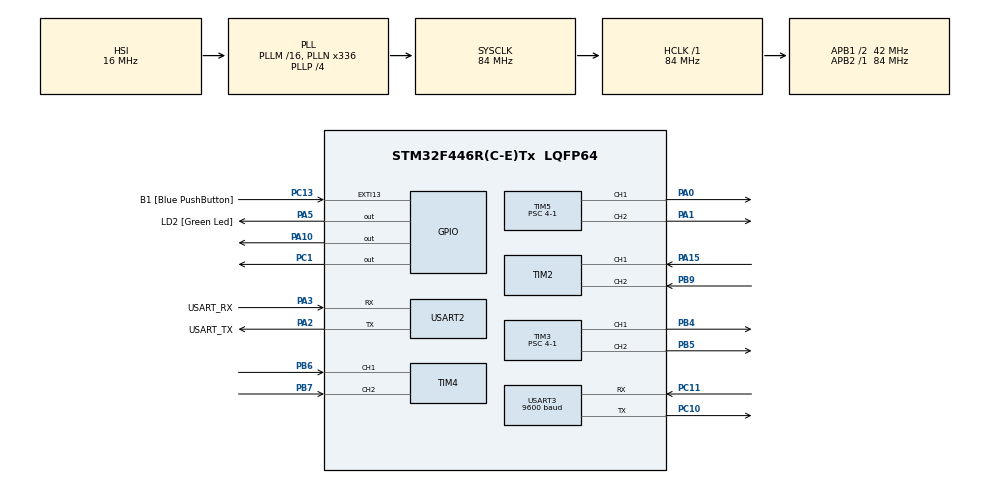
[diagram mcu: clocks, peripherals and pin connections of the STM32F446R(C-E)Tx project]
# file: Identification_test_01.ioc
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Mcu.Family=STM32F4
Mcu.Name=STM32F446R(C-E)Tx
Mcu.Package=LQFP64
NVIC.PriorityGroup=NVIC_PRIORITYGROUP_0
NVIC.TIM2_IRQn=true\:0\:0\:false\:false\:true\:true\:true\:true
NVIC.TIM3_IRQn=true\:0\:0\:false\:false\:true\:true\:true\:true
NVIC.TIM4_IRQn=true\:0\:0\:false\:false\:true\:true\:true\:true
NVIC.TIM5_IRQn=true\:0\:0\:false\:false\:true\:true\:true\:true
NVIC.TIM8_TRG_COM_TIM14_IRQn=true\:0\:0\:false\:false\:true\:true\:true\:true
NVIC.USART3_IRQn=true\:0\:0\:false\:false\:true\:true\:true\:true
PA0-WKUP.Signal=S_TIM5_CH1
PA1.Signal=S_TIM5_CH2
PA10.Signal=GPIO_Output
PA13.GPIO_Label=TMS
PA13.Mode=Serial_Wire
PA13.Signal=SYS_JTMS-SWDIO
PA14.GPIO_Label=TCK
PA14.Mode=Serial_Wire
PA14.Signal=SYS_JTCK-SWCLK
PA15.Signal=S_TIM2_CH1_ETR
PA2.GPIO_Label=USART_TX
PA2.Mode=Asynchronous
PA2.Signal=USART2_TX
PA3.GPIO_Label=USART_RX
PA3.Mode=Asynchronous
PA3.Signal=USART2_RX
PA5.GPIO_Label=LD2 [Green Led]
PA5.Signal=GPIO_Output
PB3.GPIO_Label=SWO
PB3.Signal=SYS_JTDO-SWO
PB4.Signal=S_TIM3_CH1
PB5.Signal=S_TIM3_CH2
PB6.Signal=S_TIM4_CH1
PB7.Signal=S_TIM4_CH2
PB9.Signal=S_TIM2_CH2
PC1.Signal=GPIO_Output
PC10.Mode=Asynchronous
PC10.Signal=USART3_TX
PC11.Mode=Asynchronous
PC11.Signal=USART3_RX
PC13.GPIO_Label=B1 [Blue PushButton]
PC13.GPIO_ModeDefaultEXTI=GPIO_MODE_IT_FALLING
PC13.Signal=GPXTI13
PC14-OSC32_IN.Mode=LSE-External-Oscillator
PC14-OSC32_IN.Signal=RCC_OSC32_IN
PC15-OSC32_OUT.Mode=LSE-External-Oscillator
PC15-OSC32_OUT.Signal=RCC_OSC32_OUT
PH0-OSC_IN.Mode=HSE-External-Oscillator
PH0-OSC_IN.Signal=RCC_OSC_IN
PH1-OSC_OUT.Mode=HSE-External-Oscillator
PH1-OSC_OUT.Signal=RCC_OSC_OUT
ProjectManager.HeapSize=0x200
ProjectManager.StackSize=0x400
ProjectManager.TargetToolchain=STM32CubeIDE
RCC.48MHZClocksFreq_Value=84000000
RCC.AHBFreq_Value=84000000
RCC.APB1CLKDivider=RCC_HCLK_DIV2
RCC.APB1Freq_Value=42000000
RCC.APB1TimFreq_Value=84000000
RCC.APB2Freq_Value=84000000
RCC.APB2TimFreq_Value=84000000
RCC.CortexFreq_Value=84000000
RCC.FLatency-AdvancedSettings=FLASH_LATENCY_2
RCC.HCLKFreq_Value=84000000
RCC.HSE_VALUE=8000000
RCC.HSI_VALUE=16000000
RCC.PLLN=336
RCC.PLLP=RCC_PLLP_DIV4
RCC.SYSCLKFreq_VALUE=84000000
RCC.SYSCLKSource=RCC_SYSCLKSOURCE_PLLCLK
RCC.USBFreq_Value=168000000
RCC.VCOOutputFreq_Value=336000000
SH.S_TIM2_CH1_ETR.0=TIM2_CH1,Encoder_Interface
SH.S_TIM2_CH2.0=TIM2_CH2,Encoder_Interface
SH.S_TIM3_CH1.0=TIM3_CH1,PWM Generation1 CH1
SH.S_TIM3_CH2.0=TIM3_CH2,PWM Generation2 CH2
SH.S_TIM4_CH1.0=TIM4_CH1,Encoder_Interface
SH.S_TIM4_CH2.0=TIM4_CH2,Encoder_Interface
SH.S_TIM5_CH1.0=TIM5_CH1,PWM Generation1 CH1
SH.S_TIM5_CH2.0=TIM5_CH2,PWM Generation2 CH2
TIM14.Period=100-1
TIM14.Prescaler=840-1
TIM2.EncoderMode=TIM_ENCODERMODE_TI12
TIM3.Channel-PWM\ Generation1\ CH1=TIM_CHANNEL_1
TIM3.Channel-PWM\ Generation2\ CH2=TIM_CHANNEL_2
TIM3.Period=1000-1
TIM3.Prescaler=4-1
TIM4.EncoderMode=TIM_ENCODERMODE_TI12
TIM5.Channel-PWM\ Generation1\ CH1=TIM_CHANNEL_1
TIM5.Channel-PWM\ Generation2\ CH2=TIM_CHANNEL_2
TIM5.Period=1000-1
TIM5.Prescaler=4-1
USART2.VirtualMode=VM_ASYNC
USART3.BaudRate=9600
USART3.VirtualMode=VM_ASYNC
VP_TIM14_VS_ClockSourceINT.Mode=Enable_Timer
VP_TIM3_VS_ClockSourceINT.Mode=Internal
VP_TIM5_VS_ClockSourceINT.Mode=Internal
board=NUCLEO-F446RE

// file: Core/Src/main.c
/* USER CODE BEGIN Header */
/**
 ******************************************************************************
 * @file           : main.c
 * @brief          : Main program body
 ******************************************************************************
 * @attention
 *
 * Copyright (c) 2025 STMicroelectronics.
 * All rights reserved.
 *
 * This software is licensed under terms that can be found in the LICENSE file
 * in the root directory of this software component.
 * If no LICENSE file comes with this software, it is provided AS-IS.
 *
 ******************************************************************************
 */
/* USER CODE END Header */
#include "main.h"

/* USER CODE BEGIN Includes */
#include "math.h"
#include "string.h"
#include "stdio.h"
#include "robot_kinematics.h"
#include "ekf_dd.h"

/* USER CODE END Includes */

TIM_HandleTypeDef htim2;
TIM_HandleTypeDef htim3;
TIM_HandleTypeDef htim4;
TIM_HandleTypeDef htim5;
TIM_HandleTypeDef htim14;

UART_HandleTypeDef huart2;
UART_HandleTypeDef huart3;

/* USER CODE BEGIN PV */
#define ESPERA 15000

int Sampling = 0;
int16_t Acount = 0;
float Aangle = 0;
int16_t Bcount = 0;
float Bangle = 0;
float Apast_angle = 0;
float Aspeed = 0;
float Bpast_angle = 0;
float Bspeed = 0;
float Duty = 0;
float dt = 0;
float y_k = 0;
float By_k = 0;
float r = 0;
float Br = 0;
//float e_k = 0, e_k_1 = 0, e_k_2 = 0;
//float u_k = 0, u_k_1 = 0, u_k_2 = 0;
float u_k = 0, Bu_k = 0;
float coorx[4]= {2.0f,    2.0f,    0.0f,   0.0f};
float coory[4] = {0.0f,    2.0f,    2.0f,   0.0f};
float Xd = 0.0f;
float Yd = 0.0f;

//	EVASIÓN DE OBSTACULOS(4*6)

//float alphas[8][9] = {{0, 0, 0, 1.400864734998522, -0.816273551248890, 0.168912137812222, -0.012122886484352, 0.0, 0.0},
//		{4, 0, 0, -0.0578170886460264, 0.0433628164845197, -0.01084070412113, 0.0009033920100942, 0.0 , 0.0},
//		{4, 0, 0, -1.400864734998522, 0.816273551248890, -0.168912137812222, 0.012122886484352, 0.0, 0.0},
//		{0, 0, 0, 0.0578170886460264, -0.0433628164845197, 0.01084070412113, -0.0009033920100942, 0.0, 0.0},
//		{4, 0, 0, 0.333581735217150, -0.248149041130290, 0.055389808226058, -0.003948653881737, 0.0, 0.0},
//		{2, 0, 0, -0.098164604945153,  0.010898762967092, 0.003580247406582, -0.000494683160439, 0.0, 0.0},
//		{0, 0, 0,  -0.001789077758982,  0.001073446655389, -0.000214689331078, 0.000014312622072, 0.0, 0.0},
//		{0, 0, 0, 0.091066348578766, -0.054639809147260, 0.010927961829452, -0.000728530788630, 0.0, 0.0}};
//
//float betas[8][9] = {{0, 0, 0, 0.059645443779439, -0.044734082834579,  0.011183520708645, -0.000931960059054, 0.0, 0.0},
//		{0, 0, 0,0.057152225192306, 0.30869833110577, -0.129908957776442, 0.01375543398137, 0.0 , 0.0},
//		{6, 0, 0, -0.059645443779439, 0.044734082834579,  -0.011183520708645, 0.000931960059054,0.0, 0.0},
//		{6, 0, 0, -0.057152225192306, -0.30869833110577, 0.129908957776442, -0.01375543398137, 0.0, 0.0},
//		{6, 0, 0, -0.010782280545491, 0.006469368327295, -0.001293873665459, 0.000086258244364, 0.0, 0.0},
//		{6, 0, 0, -0.002813650178160, 0.001688190106896, -0.000337638021379, 0.000022509201425, 0.0, 0.0},
//		{6, 0, 0, -0.137896451670704,  0.010737871002422, 0.006492425799516, -0.000816828386634, 0.0, 0.0},
//		{3, 0, 0, 0.296007012321636,  -0.249604207392982, 0.058560841478597, -0.004288056098573, 0.0, 0.0}};

// TRAYECTORIA CUADRADA
float alphas[4][9] = {{0, 0, 0, 0.32, -0.096, 0.00768, 0.0, 0.0 , 0.0},
		{4, 0, 0, 0.0, 0.0, 0.0, 0, 0.0 , 0.0},
		{4, 0, 0, -0.32, 0.096, -0.00768, 0.0 , 0.0},
		{0, 0, 0, 0.0, 0.0, 0.0, 0, 0.0 , 0.0}};
float betas[4][9] = {{0, 0, 0, 0.0f, 0.0f, 0.0f, 0, 0.0 , 0.0},
		{0, 0, 0, 0.32, -0.096, 0.00768, 0.0, 0.0 , 0.0},
		{4, 0, 0, 0.0, 0.0, 0.0, 0, 0.0 , 0.0},
		{4, 0, 0, -0.32, 0.096, -0.00768, 0.0, 0.0 , 0.0}};

float AR[4][4] = {
    {0.5116f,    0.0070f,    0.0000f,   -0.0002f},
    {-5.6090f,    0.8795f,    0.0006f,   -0.0356f},
    {0.9522f,   -0.2830f,    0.9999f,    0.0064f},
    {0.0f,		 0.0f,		 0.0f, 		0.3679f}
};

float AL[4][4] = {
    {0.2982f,    0.0054f,    0.0000f,   -0.0003f},
    {-12.3759f,    0.7801f,    0.0009f,   -0.0576f},
    {2.2989f,   -0.2692f,    0.9999f,    0.0106f},
    {0.0f,		 0.0f,		 0.0f, 		0.3679f}
};

float BR[4][2] = {
    {0.0002f,    0.4884f},
    {0.0399f,    5.6090f},
    {0.2939f,   -0.9522f},
    {0.0f,		 0.0f}
};
float BL[4][2] = {
    {0.0002f,    0.7018f},
    {0.0652f,   12.3759f},
    {0.2898f,   -2.2989},
    {0.0f,		 0.0f}
};

float c11 = 0, c12 = -70, c13 = 1, c14 = -100;
float d11 = 70, d12 = 0;
float x1_k_1 = 0, x2_k_1 = 0, x3_k_1 = 0, x4_k_1 = 0;
float x1_k = 0, x2_k = 0, x3_k = 0, x4_k = 0;

float Bx1_k_1 = 0, Bx2_k_1 = 0, Bx3_k_1 = 0, Bx4_k_1 = 0;
float Bx1_k = 0, Bx2_k = 0, Bx3_k = 0, Bx4_k = 0;

volatile int32_t Acount_total = 0;
volatile int32_t Bcount_total = 0;

float phi_d = 0.0f;

float T_esp = 0;
float t = 0;
int count = 1;
int coor = 0;
int band = 1;
int band_giro = 0;

volatile uint8_t uart3_busy = 0;     // 0 = libre, 1 = transmitiendo
char telem_buf[128];                 // buffer de salida
uint16_t telem_div = 20;             // envía cada 20 ciclos (~50 Hz si control=1 kHz)
uint16_t telem_cnt = 0;              // contador de ciclos de controlstatic EKF_DD kf;
static const float DT = 0.01f;   // 100 Hz

RobotKinematics cacarro;
/* USER CODE END PV */

void SystemClock_Config(void);
static void MX_GPIO_Init(void);
static void MX_USART2_UART_Init(void);
static void MX_TIM14_Init(void);
static void MX_TIM2_Init(void);
static void MX_TIM3_Init(void);
static void MX_TIM4_Init(void);
static void MX_TIM5_Init(void);
static void MX_USART3_UART_Init(void);
/* USER CODE BEGIN PFP */
static void control(float u, TIM_HandleTypeDef *htim);
static void Forward(float Duty, TIM_HandleTypeDef *htim);
static void Backward(float Duty, TIM_HandleTypeDef *htim);

/* USER CODE END PFP */

int main(void)
{

  /* USER CODE BEGIN 1 */

	char uart_buf[50];
	int uart_buf_len;

  /* USER CODE END 1 */

  /* MCU Configuration--------------------------------------------------------*/

  /* Reset of all peripherals, Initializes the Flash interface and the Systick. */

	HAL_Init();

  /* Configure the system clock */
  SystemClock_Config();

  /* Initialize all configured peripherals */
  MX_GPIO_Init();
  MX_USART2_UART_Init();
  MX_TIM14_Init();
  MX_TIM2_Init();
  MX_TIM3_Init();
  MX_TIM4_Init();
  MX_TIM5_Init();
  MX_USART3_UART_Init();
  /* USER CODE BEGIN 2 */
	HAL_TIM_Base_Start_IT(&htim14); // Start the sampling timer
	HAL_TIM_Encoder_Start_IT(&htim2, TIM_CHANNEL_ALL); // Start the encoder timer
	HAL_TIM_Encoder_Start_IT(&htim4, TIM_CHANNEL_ALL); // Start the encoder timer
	HAL_GPIO_WritePin(GPIOA, GPIO_PIN_10,SET);
	HAL_GPIO_WritePin(GPIOC, GPIO_PIN_1, SET);
	HAL_TIM_PWM_Start(&htim3, TIM_CHANNEL_1);
	HAL_TIM_PWM_Start(&htim3, TIM_CHANNEL_2);
	HAL_TIM_PWM_Start(&htim5, TIM_CHANNEL_1);
	HAL_TIM_PWM_Start(&htim5, TIM_CHANNEL_2);

	RobotKinematics_Init(&cacarro, 0.05,0.315);

//	HAL_Delay(2000);
  /* USER CODE END 2 */

  /* Infinite loop */
  /* USER CODE BEGIN WHILE */
	t = 0;
	while (1)
	{

		while(Sampling)
		{
			Sampling = 0;

//			if(t<=20){
//				Xd = alphas[0][0] + alphas[0][1]*t + alphas[0][2]*powf(t,2) + alphas[0][3]*powf(t,3) + alphas[0][4]*powf(t,4) + alphas[0][5]*powf(t,5);
//				Yd = betas[0][0] + betas[0][1]*t + betas[0][2]*powf(t,2) + betas[0][3]*powf(t,3) + betas[0][4]*powf(t,4) + betas[0][5]*powf(t,5);
//				band = 1;
//			}
			// GIRO Y CUADRADO
			if(band_giro){
				if(t<=2){
					Xd = 1 * (1 - cos((2*3.1416/8) * t));
					Yd = 1 * sin((2*3.1416/8) * t);
					Xd = alphas[(coor+1)%4][0] + cos(t);
					Yd = betas[(coor+1)%4][0] + sin(t);
				}
			}
			else{
				if(t<=5){
					Xd = alphas[coor][0] + alphas[coor][1]*t + alphas[coor][2]*powf(t,2) + alphas[coor][3]*powf(t,3) + alphas[coor][4]*powf(t,4) + alphas[coor][5]*powf(t,5) + alphas[coor][6]*powf(t,6) + alphas[coor][7]*powf(t,7) + alphas[coor][8]*powf(t,8);
					Yd = betas[coor][0] + betas[coor][1]*t + betas[coor][2]*powf(t,2) + betas[coor][3]*powf(t,3) + betas[coor][4]*powf(t,4) + betas[coor][5]*powf(t,5) + betas[coor][6]*powf(t,6) + betas[coor][7]*powf(t,7) + betas[coor][8]*powf(t,8);
					band = 1;

				}
			}

//			if(t<=8){
//				Xd = alphas[coor][0] + alphas[coor][1]*t + alphas[coor][2]*powf(t,2) + alphas[coor][3]*powf(t,3) + alphas[coor][4]*powf(t,4) + alphas[coor][5]*powf(t,5) + alphas[coor][6]*powf(t,6) + alphas[coor][7]*powf(t,7);
//				Yd = betas[coor][0] + betas[coor][1]*t + betas[coor][2]*powf(t,2) + betas[coor][3]*powf(t,3) + betas[coor][4]*powf(t,4) + betas[coor][5]*powf(t,5) + betas[coor][6]*powf(t,6) + betas[coor][7]*powf(t,7);
//				band = 1;
//			}
//			else{
//				if(band){
//					alphas[count][0] = cacarro.x;
//					bethas[count][0] = cacarro.y;
//					count += 1;
//					band = 0;
//				}
//			}

			//IZQUIERDO
			Aspeed = (Aangle - Apast_angle)/0.001;
			Apast_angle = Aangle;
			y_k = Aangle;

			//DERECHO
			Bspeed = (Bangle - Bpast_angle)/0.001;
			Bpast_angle = Bangle;
			By_k = Bangle;

			RobotKinematics_Update(&cacarro, Aangle, Bangle, 0.001);

			phi_d = W_Control_Law(&cacarro, Xd, Yd);
			VL_Control_Law(&cacarro, Xd, Yd);
			Angular_Vel(&cacarro);

			r = cacarro.W_L_d;
			Br = cacarro.W_R_d;

			//MOTOR A : IZQUIERDO
			x1_k_1 = AR[0][0]*x1_k + AR[0][1]*x2_k + AR[0][2]*x3_k + AR[0][3]*x4_k + BR[0][0]*r + BR[0][1]*y_k;
			x2_k_1 = AR[1][0]*x1_k + AR[1][1]*x2_k + AR[1][2]*x3_k + AR[1][3]*x4_k + BR[1][0]*r + BR[1][1]*y_k;
			x3_k_1 = AR[2][0]*x1_k + AR[2][1]*x2_k + AR[2][2]*x3_k + AR[2][3]*x4_k + BR[2][0]*r + BR[2][1]*y_k;
			x4_k_1 = AR[3][0]*x1_k + AR[3][1]*x2_k + AR[3][2]*x3_k + AR[3][3]*x4_k + BR[3][0]*r + BR[3][1]*y_k;

			u_k = c11*x1_k + c12*x2_k +c13*x3_k + c14*x4_k + d11*r;
			control(u_k, &htim3);
			x1_k = x1_k_1;
			x2_k = x2_k_1;
			x3_k = x3_k_1;
			x4_k = x4_k_1;

			//MOTOR B : DERECHO

			Bx1_k_1 = AL[0][0]*Bx1_k + AL[0][1]*Bx2_k + AL[0][2]*Bx3_k + AL[0][3]*Bx4_k + BL[0][0]*Br + BL[0][1]*By_k;
			Bx2_k_1 = AL[1][0]*Bx1_k + AL[1][1]*Bx2_k + AL[1][2]*Bx3_k + AL[1][3]*Bx4_k + BL[1][0]*Br + BL[1][1]*By_k;
			Bx3_k_1 = AL[2][0]*Bx1_k + AL[2][1]*Bx2_k + AL[2][2]*Bx3_k + AL[2][3]*Bx4_k + BL[2][0]*Br + BL[2][1]*By_k;
			Bx4_k_1 = AL[3][0]*Bx1_k + AL[3][1]*Bx2_k + AL[3][2]*Bx3_k + AL[3][3]*Bx4_k + BL[3][0]*Br + BL[3][1]*By_k;

			Bu_k = c11*Bx1_k + c12*Bx2_k +c13*Bx3_k + c14*Bx4_k + d11*Br;
			control(Bu_k, &htim5);
			Bx1_k = Bx1_k_1;
			Bx2_k = Bx2_k_1;
			Bx3_k = Bx3_k_1;
			Bx4_k = Bx4_k_1;

//			// ACTUALIZACIÓN DEL FILTRO
//			// --- Paso de PREDICCIÓN (usas tu v y ω ya calculados) ---
//			ekf_dd_predict_kin(&kf, v, omega, DT);
//
//			// --- Paso de ACTUALIZACIÓN (mediciones disponibles este ciclo) ---z = (x,y,theta)
//			float z[3] = {0.0f, 0.0f, 0.0f};
//			unsigned mask = 0;
//
//			// Yaw de IMU (recomendado siempre)
//			if (have_yaw_imu()) {
//				z[2] = get_yaw_imu_rad();     // Leer angulo y ponerlo en su posición
//				mask |= EKF_MEAS_THETA;
//			}
//
//			// Posición absoluta opcional
//			/*
//			if (have_pos_abs()) {
//				float x_abs, y_abs;
//				get_pos_abs(&x_abs, &y_abs);
//				z[0] = x_abs;  mask |= EKF_MEAS_X;
//				z[1] = y_abs;  mask |= EKF_MEAS_Y;
//			}
//			*/
//
//			// Si no hay mediciones, mask queda 0 y ekf_dd_update no hace nada
//			ekf_dd_update(&kf, z, mask);
//
//			// --- Usa el estado filtrado ---
//			float x     = kf.x[0];
//			float y     = kf.x[1];
//			float theta = kf.x[2];
//			float vhat  = kf.x[3];
//			float omhat = kf.x[4];

			// (Opcional) Log
			// printf("%f,%f,%f,%f,%f\r\n", x, y, theta, vhat, omhat);

			 if (++telem_cnt >= telem_div && !uart3_busy) {
				  int n = snprintf(telem_buf, sizeof(telem_buf),
								   "%.3f,%.3f,%.3f\r\n",
									cacarro.x, cacarro.y, cacarro.theta);
				  if (n > 0) {
					  uart3_busy = 1; // marcar ocupada hasta que termine
					  HAL_UART_Transmit_IT(&huart3, (uint8_t*)telem_buf, (uint16_t)n);
				  }
				  telem_cnt = 0;
			  }

		}
		// send data
//		uart_buf_len = sprintf(uart_buf,"%0.2f \t", r);
//		HAL_UART_Transmit(&huart2, (uint8_t *)uart_buf, uart_buf_len, 100);
//		uart_buf_len = sprintf(uart_buf,"%0.2f \t", y_k);
//		HAL_UART_Transmit(&huart2, (uint8_t *)uart_buf, uart_buf_len, 100);
//		uart_buf_len = sprintf(uart_buf,"%0.2f \r\n", u_k);
//		HAL_UART_Transmit(&huart2, (uint8_t *)uart_buf, uart_buf_len, 100);

    /* USER CODE END WHILE */

	}
}

void SystemClock_Config(void)
{
  RCC_OscInitTypeDef RCC_OscInitStruct = {0};
  RCC_ClkInitTypeDef RCC_ClkInitStruct = {0};

  /** Configure the main internal regulator output voltage
  */
  __HAL_RCC_PWR_CLK_ENABLE();
  __HAL_PWR_VOLTAGESCALING_CONFIG(PWR_REGULATOR_VOLTAGE_SCALE3);

  /** Initializes the RCC Oscillators according to the specified parameters
  * in the RCC_OscInitTypeDef structure.
  */
  RCC_OscInitStruct.OscillatorType = RCC_OSCILLATORTYPE_HSI;
  RCC_OscInitStruct.HSIState = RCC_HSI_ON;
  RCC_OscInitStruct.HSICalibrationValue = RCC_HSICALIBRATION_DEFAULT;
  RCC_OscInitStruct.PLL.PLLState = RCC_PLL_ON;
  RCC_OscInitStruct.PLL.PLLSource = RCC_PLLSOURCE_HSI;
  RCC_OscInitStruct.PLL.PLLM = 16;
  RCC_OscInitStruct.PLL.PLLN = 336;
  RCC_OscInitStruct.PLL.PLLP = RCC_PLLP_DIV4;
  RCC_OscInitStruct.PLL.PLLQ = 2;
  RCC_OscInitStruct.PLL.PLLR = 2;
  if (HAL_RCC_OscConfig(&RCC_OscInitStruct) != HAL_OK)
  {
    Error_Handler();
  }

  /** Initializes the CPU, AHB and APB buses clocks
  */
  RCC_ClkInitStruct.ClockType = RCC_CLOCKTYPE_HCLK|RCC_CLOCKTYPE_SYSCLK
                              |RCC_CLOCKTYPE_PCLK1|RCC_CLOCKTYPE_PCLK2;
  RCC_ClkInitStruct.SYSCLKSource = RCC_SYSCLKSOURCE_PLLCLK;
  RCC_ClkInitStruct.AHBCLKDivider = RCC_SYSCLK_DIV1;
  RCC_ClkInitStruct.APB1CLKDivider = RCC_HCLK_DIV2;
  RCC_ClkInitStruct.APB2CLKDivider = RCC_HCLK_DIV1;

  if (HAL_RCC_ClockConfig(&RCC_ClkInitStruct, FLASH_LATENCY_2) != HAL_OK)
  {
    Error_Handler();
  }
}

static void MX_TIM2_Init(void)
{

  TIM_Encoder_InitTypeDef sConfig = {0};
  TIM_MasterConfigTypeDef sMasterConfig = {0};

  htim2.Instance = TIM2;
  htim2.Init.Prescaler = 0;
  htim2.Init.CounterMode = TIM_COUNTERMODE_UP;
  htim2.Init.Period = 4294967295;
  htim2.Init.ClockDivision = TIM_CLOCKDIVISION_DIV1;
  htim2.Init.AutoReloadPreload = TIM_AUTORELOAD_PRELOAD_DISABLE;
  sConfig.EncoderMode = TIM_ENCODERMODE_TI12;
  sConfig.IC1Polarity = TIM_ICPOLARITY_RISING;
  sConfig.IC1Selection = TIM_ICSELECTION_DIRECTTI;
  sConfig.IC1Prescaler = TIM_ICPSC_DIV1;
  sConfig.IC1Filter = 0;
  sConfig.IC2Polarity = TIM_ICPOLARITY_RISING;
  sConfig.IC2Selection = TIM_ICSELECTION_DIRECTTI;
  sConfig.IC2Prescaler = TIM_ICPSC_DIV1;
  sConfig.IC2Filter = 0;
  if (HAL_TIM_Encoder_Init(&htim2, &sConfig) != HAL_OK)
  {
    Error_Handler();
  }
  sMasterConfig.MasterOutputTrigger = TIM_TRGO_RESET;
  sMasterConfig.MasterSlaveMode = TIM_MASTERSLAVEMODE_DISABLE;
  if (HAL_TIMEx_MasterConfigSynchronization(&htim2, &sMasterConfig) != HAL_OK)
  {
    Error_Handler();
  }

}

static void MX_TIM3_Init(void)
{

  TIM_ClockConfigTypeDef sClockSourceConfig = {0};
  TIM_MasterConfigTypeDef sMasterConfig = {0};
  TIM_OC_InitTypeDef sConfigOC = {0};

  htim3.Instance = TIM3;
  htim3.Init.Prescaler = 4-1;
  htim3.Init.CounterMode = TIM_COUNTERMODE_UP;
  htim3.Init.Period = 1000-1;
  htim3.Init.ClockDivision = TIM_CLOCKDIVISION_DIV1;
  htim3.Init.AutoReloadPreload = TIM_AUTORELOAD_PRELOAD_DISABLE;
  if (HAL_TIM_Base_Init(&htim3) != HAL_OK)
  {
    Error_Handler();
  }
  sClockSourceConfig.ClockSource = TIM_CLOCKSOURCE_INTERNAL;
  if (HAL_TIM_ConfigClockSource(&htim3, &sClockSourceConfig) != HAL_OK)
  {
    Error_Handler();
  }
  if (HAL_TIM_PWM_Init(&htim3) != HAL_OK)
  {
    Error_Handler();
  }
  sMasterConfig.MasterOutputTrigger = TIM_TRGO_RESET;
  sMasterConfig.MasterSlaveMode = TIM_MASTERSLAVEMODE_DISABLE;
  if (HAL_TIMEx_MasterConfigSynchronization(&htim3, &sMasterConfig) != HAL_OK)
  {
    Error_Handler();
  }
  sConfigOC.OCMode = TIM_OCMODE_PWM1;
  sConfigOC.Pulse = 0;
  sConfigOC.OCPolarity = TIM_OCPOLARITY_HIGH;
  sConfigOC.OCFastMode = TIM_OCFAST_DISABLE;
  if (HAL_TIM_PWM_ConfigChannel(&htim3, &sConfigOC, TIM_CHANNEL_1) != HAL_OK)
  {
    Error_Handler();
  }
  if (HAL_TIM_PWM_ConfigChannel(&htim3, &sConfigOC, TIM_CHANNEL_2) != HAL_OK)
  {
    Error_Handler();
  }
  HAL_TIM_MspPostInit(&htim3);

}

static void MX_TIM4_Init(void)
{

  TIM_Encoder_InitTypeDef sConfig = {0};
  TIM_MasterConfigTypeDef sMasterConfig = {0};

  htim4.Instance = TIM4;
  htim4.Init.Prescaler = 0;
  htim4.Init.CounterMode = TIM_COUNTERMODE_UP;
  htim4.Init.Period = 65535;
  htim4.Init.ClockDivision = TIM_CLOCKDIVISION_DIV1;
  htim4.Init.AutoReloadPreload = TIM_AUTORELOAD_PRELOAD_DISABLE;
  sConfig.EncoderMode = TIM_ENCODERMODE_TI12;
  sConfig.IC1Polarity = TIM_ICPOLARITY_RISING;
  sConfig.IC1Selection = TIM_ICSELECTION_DIRECTTI;
  sConfig.IC1Prescaler = TIM_ICPSC_DIV1;
  sConfig.IC1Filter = 0;
  sConfig.IC2Polarity = TIM_ICPOLARITY_RISING;
  sConfig.IC2Selection = TIM_ICSELECTION_DIRECTTI;
  sConfig.IC2Prescaler = TIM_ICPSC_DIV1;
  sConfig.IC2Filter = 0;
  if (HAL_TIM_Encoder_Init(&htim4, &sConfig) != HAL_OK)
  {
    Error_Handler();
  }
  sMasterConfig.MasterOutputTrigger = TIM_TRGO_RESET;
  sMasterConfig.MasterSlaveMode = TIM_MASTERSLAVEMODE_DISABLE;
  if (HAL_TIMEx_MasterConfigSynchronization(&htim4, &sMasterConfig) != HAL_OK)
  {
    Error_Handler();
  }

}

static void MX_TIM5_Init(void)
{

  TIM_ClockConfigTypeDef sClockSourceConfig = {0};
  TIM_MasterConfigTypeDef sMasterConfig = {0};
  TIM_OC_InitTypeDef sConfigOC = {0};

  htim5.Instance = TIM5;
  htim5.Init.Prescaler = 4-1;
  htim5.Init.CounterMode = TIM_COUNTERMODE_UP;
  htim5.Init.Period = 1000-1;
  htim5.Init.ClockDivision = TIM_CLOCKDIVISION_DIV1;
  htim5.Init.AutoReloadPreload = TIM_AUTORELOAD_PRELOAD_DISABLE;
  if (HAL_TIM_Base_Init(&htim5) != HAL_OK)
  {
    Error_Handler();
  }
  sClockSourceConfig.ClockSource = TIM_CLOCKSOURCE_INTERNAL;
  if (HAL_TIM_ConfigClockSource(&htim5, &sClockSourceConfig) != HAL_OK)
  {
    Error_Handler();
  }
  if (HAL_TIM_PWM_Init(&htim5) != HAL_OK)
  {
    Error_Handler();
  }
  sMasterConfig.MasterOutputTrigger = TIM_TRGO_RESET;
  sMasterConfig.MasterSlaveMode = TIM_MASTERSLAVEMODE_DISABLE;
  if (HAL_TIMEx_MasterConfigSynchronization(&htim5, &sMasterConfig) != HAL_OK)
  {
    Error_Handler();
  }
  sConfigOC.OCMode = TIM_OCMODE_PWM1;
  sConfigOC.Pulse = 0;
  sConfigOC.OCPolarity = TIM_OCPOLARITY_HIGH;
  sConfigOC.OCFastMode = TIM_OCFAST_DISABLE;
  if (HAL_TIM_PWM_ConfigChannel(&htim5, &sConfigOC, TIM_CHANNEL_1) != HAL_OK)
  {
    Error_Handler();
  }
  if (HAL_TIM_PWM_ConfigChannel(&htim5, &sConfigOC, TIM_CHANNEL_2) != HAL_OK)
  {
    Error_Handler();
  }
  HAL_TIM_MspPostInit(&htim5);

}

static void MX_TIM14_Init(void)
{

  htim14.Instance = TIM14;
  htim14.Init.Prescaler = 840-1;
  htim14.Init.CounterMode = TIM_COUNTERMODE_UP;
  htim14.Init.Period = 100-1;
  htim14.Init.ClockDivision = TIM_CLOCKDIVISION_DIV1;
  htim14.Init.AutoReloadPreload = TIM_AUTORELOAD_PRELOAD_DISABLE;
  if (HAL_TIM_Base_Init(&htim14) != HAL_OK)
  {
    Error_Handler();
  }

}

static void MX_USART2_UART_Init(void)
{

  huart2.Instance = USART2;
  huart2.Init.BaudRate = 115200;
  huart2.Init.WordLength = UART_WORDLENGTH_8B;
  huart2.Init.StopBits = UART_STOPBITS_1;
  huart2.Init.Parity = UART_PARITY_NONE;
  huart2.Init.Mode = UART_MODE_TX_RX;
  huart2.Init.HwFlowCtl = UART_HWCONTROL_NONE;
  huart2.Init.OverSampling = UART_OVERSAMPLING_16;
  if (HAL_UART_Init(&huart2) != HAL_OK)
  {
    Error_Handler();
  }

}

static void MX_USART3_UART_Init(void)
{

  huart3.Instance = USART3;
  huart3.Init.BaudRate = 9600;
  huart3.Init.WordLength = UART_WORDLENGTH_8B;
  huart3.Init.StopBits = UART_STOPBITS_1;
  huart3.Init.Parity = UART_PARITY_NONE;
  huart3.Init.Mode = UART_MODE_TX_RX;
  huart3.Init.HwFlowCtl = UART_HWCONTROL_NONE;
  huart3.Init.OverSampling = UART_OVERSAMPLING_16;
  if (HAL_UART_Init(&huart3) != HAL_OK)
  {
    Error_Handler();
  }

}

static void MX_GPIO_Init(void)
{
  GPIO_InitTypeDef GPIO_InitStruct = {0};

  /* GPIO Ports Clock Enable */
  __HAL_RCC_GPIOC_CLK_ENABLE();
  __HAL_RCC_GPIOH_CLK_ENABLE();
  __HAL_RCC_GPIOA_CLK_ENABLE();
  __HAL_RCC_GPIOB_CLK_ENABLE();

  /*Configure GPIO pin Output Level */
  HAL_GPIO_WritePin(GPIOC, GPIO_PIN_1, GPIO_PIN_RESET);

  /*Configure GPIO pin Output Level */
  HAL_GPIO_WritePin(GPIOA, LD2_Pin|GPIO_PIN_10, GPIO_PIN_RESET);

  /*Configure GPIO pin : B1_Pin */
  GPIO_InitStruct.Pin = B1_Pin;
  GPIO_InitStruct.Mode = GPIO_MODE_IT_FALLING;
  GPIO_InitStruct.Pull = GPIO_NOPULL;
  HAL_GPIO_Init(B1_GPIO_Port, &GPIO_InitStruct);

  /*Configure GPIO pin : PC1 */
  GPIO_InitStruct.Pin = GPIO_PIN_1;
  GPIO_InitStruct.Mode = GPIO_MODE_OUTPUT_PP;
  GPIO_InitStruct.Pull = GPIO_NOPULL;
  GPIO_InitStruct.Speed = GPIO_SPEED_FREQ_LOW;
  HAL_GPIO_Init(GPIOC, &GPIO_InitStruct);

  /*Configure GPIO pins : LD2_Pin PA10 */
  GPIO_InitStruct.Pin = LD2_Pin|GPIO_PIN_10;
  GPIO_InitStruct.Mode = GPIO_MODE_OUTPUT_PP;
  GPIO_InitStruct.Pull = GPIO_NOPULL;
  GPIO_InitStruct.Speed = GPIO_SPEED_FREQ_LOW;
  HAL_GPIO_Init(GPIOA, &GPIO_InitStruct);

}

/* USER CODE BEGIN 4 */

void HAL_TIM_PeriodElapsedCallback (TIM_HandleTypeDef * htim)
{
	if(htim == &htim14)
	{
		Sampling = 1;
		if(T_esp <= ESPERA)
		{
			T_esp += 1;
		}
		if(t <= 20){//SEPARAR TIEMPOS DE ESPERA, VAR GLOBAL
			t += 0.001;
		}
		else{
			if(coor<3){
				coor += 1;
				t = 0;
			}
//			if(band_giro==1){//Raro
//				band_giro=0;
//				if(coor<3){
//					coor += 1;
//				}
//			}
//			else{
//				band_giro=1;
//			}
		}
	}
}

void HAL_UART_TxCpltCallback(UART_HandleTypeDef *huart)
{
    if (huart->Instance == USART3) {
        uart3_busy = 0; // liberar para el siguiente envío
    }
}

void HAL_TIM_IC_CaptureCallback(TIM_HandleTypeDef * htim)
{
   if(htim == &htim2) // Encoder B
    {
        static uint16_t lastB = 0;
        uint16_t nowB = __HAL_TIM_GET_COUNTER(htim);
        int16_t deltaB = (int16_t)(nowB - lastB);
        Bcount_total += deltaB;
        lastB = nowB;

        Bangle = 2.0f * 3.1416f * Bcount_total / 383.6f;
    }

    if(htim == &htim4) // Encoder A
    {
        static uint16_t lastA = 0;
        uint16_t nowA = __HAL_TIM_GET_COUNTER(htim);
        int16_t deltaA = (int16_t)(nowA - lastA);
        Acount_total += deltaA;
        lastA = nowA;

        Aangle = (-2.0f * 3.1416f * Acount_total) / 383.6f;
    }
}

static void control(float u, TIM_HandleTypeDef *htim)
{
	if(htim == &htim3)
	{
		if(u >= 999){
			Forward(999, &htim3);
		}else if(u <= -999){
			Backward(999, &htim3);
		}else if(u>=0 && u<999){
			Forward(u, &htim3);
		}else if(u>-999 && u<0){
			Backward(-u, &htim3);
		}
	}
	if(htim == &htim5)
	{
		if(u >= 999){
			Forward(999, &htim5);
		}else if(u <= -999){
			Backward(999, &htim5);
		}else if(u>=0 && u<999){
			Forward(u, &htim5);
		}else if(u>-999 && u<0){
			Backward(-u, &htim5);
		}
	}
}

static void Forward(float Duty, TIM_HandleTypeDef *htim)
{
	if(htim == &htim3)
	{
		htim3.Instance->CCR2 = 0;
		htim3.Instance->CCR1 = Duty;		//Motor A
	}
	if(htim == &htim5)
	{
		htim5.Instance->CCR1 = 0;
		htim5.Instance->CCR2 = Duty;		//Motor B
	}
}

static void Backward(float Duty, TIM_HandleTypeDef *htim)
{
	if(htim == &htim3)
	{
		htim3.Instance->CCR1 = 0;
		htim3.Instance->CCR2 = Duty;
	}
	if(htim == &htim5)
	{
		htim5.Instance->CCR2 = 0;
		htim5.Instance->CCR1 = Duty;
	}
}

/* USER CODE END 4 */

void Error_Handler(void)
{
	__disable_irq();
	while (1)
	{
	}
}
